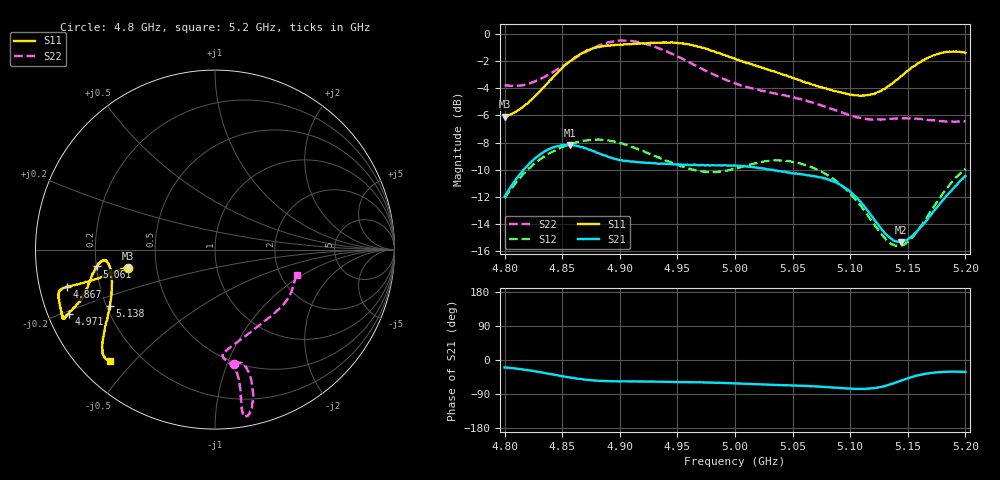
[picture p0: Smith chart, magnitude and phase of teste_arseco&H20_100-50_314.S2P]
! Network Analyzer HP8722D
! Hewlett-Packard
! Data name: Linha & Wilkinson
! Saver's name: Rodrigo Anjos
! Comments: Teste da utilização de aquisição
! continua pelo VNA HP8722D
! Time and date: 6/5/2025 15:11
!  Frequency  S11  S21  S12  S22
# HZ  S  MA R 50
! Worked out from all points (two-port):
!   401 points, 4.8 GHz to 5.2 GHz, reference 50 ohm
!   highest |S21| = -8.16 dB at 4.857 GHz (marker M1); lowest = -15.3 dB at 5.144 GHz (marker M2)
!   |S21| within 3 dB of the highest: 4.806 GHz to 5.092 GHz (286.4 MHz wide, 5.79 % of centre); 5.191922 GHz to end of sweep
!   lowest |S11| = -6.1 dB at 4.8 GHz (marker M3), VSWR 2.97, Z = 17 - j4.59 ohm
!   |S11| at or under -10 dB: nowhere
!   |S22| runs from -6.5 to -0.5 dB; largest |S21 - S12| = 0.62
!   S11 on the Smith chart (normalised r, x): 4.8 GHz: 0.34, -0.09; 4.867 GHz: 0.08, -0.12; 4.971 GHz: 0.06, -0.21; 5.061 GHz: 0.20, -0.07; 5.138 GHz: 0.21, -0.24; 5.2 GHz: 0.09, -0.43
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4.8e9  0.496 -168.2  0.2517 -19.7  0.2485 -140.9  0.6479 -80.4
4.829e9  0.6033 -166.9  0.3545 -31.0  0.3408 -145.0  0.6765 -75.2
4.857e9  0.7946 -165.9  0.3907 -46.3  0.393 -150.2  0.7922 -74.7
4.867e9  0.8483 -165.8  0.3831 -50.8  0.4029 -152.0  0.8429 -75.4
4.879e9  0.8906 -165.5  0.3671 -54.2  0.408 -154.0  0.894 -76.6
4.9e9  0.9111 -162.7  0.3431 -56.3  0.3966 -156.4  0.9439 -79.1
4.934e9  0.9272 -156.4  0.3324 -57.5  0.3521 -155.5  0.883 -80.4
4.949e9  0.9268 -155.5  0.3311 -57.8  0.3317 -153.0  0.8296 -80.1
4.971e9  0.8894 -156.3  0.329 -59.2  0.3122 -146.5  0.7461 -79.5
5e9  0.8107 -159.0  0.3279 -61.7  0.3197 -137.2  0.6567 -81.3
5.036e9  0.7223 -165.6  0.3142 -65.9  0.3422 -134.4  0.6019 -85.7
5.061e9  0.6632 -171.9  0.3032 -68.3  0.3296 -136.2  0.5704 -84.0
5.067e9  0.6512 -173.0  0.3006 -69.0  0.323 -136.7  0.559 -82.6
5.086e9  0.616 -174.4  0.2859 -72.7  0.2916 -138.4  0.5259 -75.4
5.103e9  0.5946 -171.4  0.2556 -76.0  0.2505 -138.6  0.4973 -65.3
5.116e9  0.5963 -165.2  0.2214 -75.7  0.2127 -135.5  0.4851 -55.8
5.134e9  0.6454 -154.1  0.1785 -65.3  0.1705 -120.7  0.4869 -43.3
5.138e9  0.665 -151.9  0.1736 -61.2  0.1672 -115.5  0.4877 -40.8
5.144e9  0.6987 -148.7  0.1717 -54.7  0.1661 -107.5  0.489 -37.4
5.154e9  0.755 -144.4  0.1808 -44.6  0.1789 -95.1  0.4882 -32.4
5.174e9  0.8373 -138.5  0.2268 -32.8  0.2364 -80.3  0.4795 -23.9
5.2e9  0.8515 -133.4  0.3001 -31.4  0.319 -76.8  0.4775 -17.5
